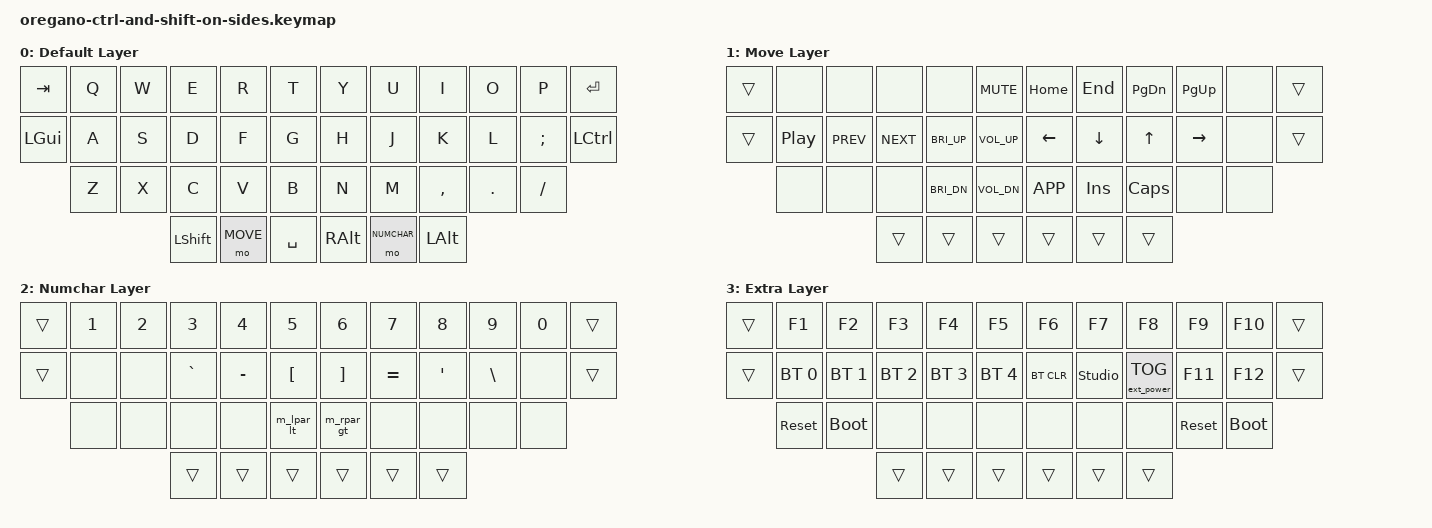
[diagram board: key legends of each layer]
#include <behaviors.dtsi>
#include <dt-bindings/zmk/keys.h>
#include <dt-bindings/zmk/bt.h>
#include <dt-bindings/zmk/ext_power.h>

#define DEFAULT 0
#define MOVE    1
#define NUMCHAR 2
#define EXTRA   3

/ {
        behaviors {
                m_lpar_lt: m_lpar_lt {
                        compatible = "zmk,behavior-mod-morph";
                        #binding-cells = <0>;
                        bindings = <&kp LPAR>, <&kp LT>;
                        mods = <(MOD_LSFT|MOD_RSFT)>;
                };
                m_rpar_gt: m_rpar_gt {
                        compatible = "zmk,behavior-mod-morph";
                        #binding-cells = <0>;
                        bindings = <&kp RPAR>, <&kp GT>;
                        mods = <(MOD_LSFT|MOD_RSFT)>;
                };
                m_bspc_del: m_bspc_del {
                        compatible = "zmk,behavior-mod-morph";
                        #binding-cells = <0>;
                        bindings = <&kp BSPC>, <&kp DEL>;
                        mods = <(MOD_LSFT|MOD_RSFT)>;
                };
        };

        combos {
                compatible = "zmk,combos";
                combo_esc {
                        timeout-ms = <40>;
                        key-positions = <2 3>;
                        bindings = <&kp ESC>;
                };
                combo_bspc {
                        timeout-ms = <40>;
                        key-positions = <8 9>;
                        bindings = <&m_bspc_del>;
                };
                combo_tab {
                        timeout-ms = <40>;
                        key-positions = <3 4>;
                        bindings = <&kp TAB>;
                };
                combo_ret {
                        timeout-ms = <40>;
                        key-positions = <7 8>;
                        bindings = <&kp RET>;
                };
        };

        conditional_layers {
                compatible = "zmk,conditional-layers";
                tri_layer {
                        if-layers = <MOVE NUMCHAR>;
                        then-layer = <EXTRA>;
                };
        };

        keymap {
                compatible = "zmk,keymap";

                default_layer {
                        display-name = "Default Layer";
// ╭─────────┬─────────┬─────────┬─────────┬─────────┬─────────╮   ╭─────────┬─────────┬─────────┬─────────┬─────────┬─────────╮
// │ LSHIFT  │    Q    │    W    │    E    │    R    │    T    │   │    Y    │    U    │    I    │    O    │    P    │  RSHIFT │
// ├─────────┼─────────┼─────────┼─────────┼─────────┼─────────┤   ├─────────┼─────────┼─────────┼─────────┼─────────┼─────────┤
// │  LCTRL  │    A    │    S    │    D    │    F    │    G    │   │    H    │    J    │    K    │    L    │   ; :   │  RCTRL  │
// ╰─────────┼─────────┼─────────┼─────────┼─────────┼─────────┤   ├─────────┼─────────┼─────────┼─────────┼─────────┼─────────╯
//           │    Z    │    X    │    C    │    V    │    B    │   │    N    │    M    │   , <   │   . >   │   / ?   │          
//           ╰─────────┴─────────┼─────────┼─────────┼─────────┤   ├─────────┼─────────┼─────────┼─────────┴─────────╯          
//                               │   GUI   │  MOVE   │  SPACE  │   │  RALT   │ NUMCHAR │  LALT   │                              
//                               ╰─────────┴─────────┴─────────╯   ╰─────────┴─────────┴─────────╯                              
                        bindings = <
   &kp TAB    &kp Q        &kp W            &kp E             &kp R                &kp T                &kp Y             &kp U             &kp I           &kp O           &kp P           &kp RET
   &kp LGUI   &kp A        &kp S            &kp D             &kp F                &kp G                &kp H             &kp J             &kp K           &kp L           &kp SEMI        &kp LCTRL
              &kp Z        &kp X            &kp C             &kp V                &kp B                &kp N             &kp M             &kp COMMA       &kp DOT         &kp FSLH        
                                            &kp LSHIFT        &mo MOVE             &kp SPACE            &kp RALT          &mo NUMCHAR       &kp LALT
                        >;
                };
                move_layer {
                        display-name = "Move Layer";
// ╭─────────┬─────────┬─────────┬─────────┬─────────┬─────────╮   ╭─────────┬─────────┬─────────┬─────────┬─────────┬─────────╮
// │  trans  │  none   │  none   │  none   │  none   │  MUTE   │   │  HOME   │   END   │  PG DN  │  PG UP  │  none   │  trans  │
// ├─────────┼─────────┼─────────┼─────────┼─────────┼─────────┤   ├─────────┼─────────┼─────────┼─────────┼─────────┼─────────┤
// │  trans  │  PLAY   │  PREV   │  NEXT   │  BRI U  │  VOL U  │   │  LEFT   │  DOWN   │   UP    │  RIGHT  │  none   │  trans  │
// ╰─────────┼─────────┼─────────┼─────────┼─────────┼─────────┤   ├─────────┼─────────┼─────────┼─────────┼─────────┼─────────╯
//           │  none   │  none   │  none   │  BRI D  │  VOL D  │   │   APP   │   INS   │  CAPS   │  none   │  none   │          
//           ╰─────────┴─────────┼─────────┼─────────┼─────────┤   ├─────────┼─────────┼─────────┼─────────┴─────────╯          
//                               │  trans  │  trans  │  trans  │   │  trans  │  trans  │  trans  │                              
//                               ╰─────────┴─────────┴─────────╯   ╰─────────┴─────────┴─────────╯                              
                        bindings = <
   &trans    &none        &none            &none             &none                &kp C_MUTE           &kp HOME          &kp END           &kp PG_DN       &kp PG_UP       &none           &trans
   &trans    &kp C_PP     &kp C_PREV       &kp C_NEXT        &kp C_BRI_UP         &kp C_VOL_UP         &kp LEFT          &kp DOWN          &kp UP          &kp RIGHT       &none           &trans
             &none        &none            &none             &kp C_BRI_DN         &kp C_VOL_DN         &kp K_APP         &kp INS           &kp CAPS        &none           &none          
                                           &trans            &trans               &trans               &trans            &trans            &trans
                        >;
                };

                numchar_layer {
                        display-name = "Numchar Layer";
// ╭─────────┬─────────┬─────────┬─────────┬─────────┬─────────╮   ╭─────────┬─────────┬─────────┬─────────┬─────────┬─────────╮
// │  trans  │   1 !   │   2 @   │   3 #   │   4 $   │   5 %   │   │   6 ^   │   7 &   │   8 *   │   9 (   │   0 )   │  trans  │
// ├─────────┼─────────┼─────────┼─────────┼─────────┼─────────┤   ├─────────┼─────────┼─────────┼─────────┼─────────┼─────────┤
// │  trans  │  none   │  none   │   ` ~   │   - _   │   [ {   │   │   ] }   │   = +   │   ' "   │   \ |   │  none   │  trans  │
// ╰─────────┼─────────┼─────────┼─────────┼─────────┼─────────┤   ├─────────┼─────────┼─────────┼─────────┼─────────┼─────────╯
//           │  none   │  none   │  none   │  none   │   ( <   │   │   ) >   │  none   │  none   │  none   │  none   │          
//           ╰─────────┴─────────┼─────────┼─────────┼─────────┤   ├─────────┼─────────┼─────────┼─────────┴─────────╯          
//                               │  trans  │  trans  │  trans  │   │  trans  │  trans  │  trans  │                              
//                               ╰─────────┴─────────┴─────────╯   ╰─────────┴─────────┴─────────╯                              
                        bindings = <
   &trans    &kp N1       &kp N2           &kp N3            &kp N4               &kp N5               &kp N6            &kp N7            &kp N8          &kp N9          &kp N0          &trans
   &trans    &none        &none            &kp GRAVE         &kp MINUS            &kp LBKT             &kp RBKT          &kp EQUAL         &kp SQT         &kp BSLH        &none           &trans
             &none        &none            &none             &none                &m_lpar_lt           &m_rpar_gt        &none             &none           &none           &none          
                                           &trans            &trans               &trans               &trans            &trans            &trans
                        >;
                };

                extra_layer {
                        display-name = "Extra Layer";
// ╭─────────┬─────────┬─────────┬─────────┬─────────┬─────────╮   ╭─────────┬─────────┬─────────┬─────────┬─────────┬─────────╮
// │  trans  │   F1    │   F2    │   F3    │   F4    │   F5    │   │   F6    │   F7    │   F8    │   F9    │   F10   │  trans  │
// ├─────────┼─────────┼─────────┼─────────┼─────────┼─────────┤   ├─────────┼─────────┼─────────┼─────────┼─────────┼─────────┤
// │  trans  │  BT 1   │  BT 2   │  BT 3   │  BT 4   │  BT 5   │   │ BT CLR  │ ZMK STU │  EP TG  │   F11   │   F12   │  trans  │
// ╰─────────┼─────────┼─────────┼─────────┼─────────┼─────────┤   ├─────────┼─────────┼─────────┼─────────┼─────────┼─────────╯
//           │  BOOT   │ SYS RES │  none   │  none   │  none   │   │  none   │  none   │  none   │ SYS RES │  BOOT   │          
//           ╰─────────┴─────────┼─────────┼─────────┼─────────┤   ├─────────┼─────────┼─────────┼─────────┴─────────╯          
//                               │  trans  │  trans  │  trans  │   │  trans  │  trans  │  trans  │                              
//                               ╰─────────┴─────────┴─────────╯   ╰─────────┴─────────┴─────────╯                              
                        bindings = <
   &trans    &kp F1        &kp F2           &kp F3            &kp F4               &kp F5               &kp F6            &kp F7            &kp F8            &kp F9          &kp F10         &trans
   &trans    &bt BT_SEL 0  &bt BT_SEL 1     &bt BT_SEL 2      &bt BT_SEL 3         &bt BT_SEL 4         &bt BT_CLR        &studio_unlock    &ext_power EP_TOG &kp F11         &kp F12         &trans
             &sys_reset    &bootloader      &none             &none                &none                &none             &none             &none             &sys_reset      &bootloader          
                                           &trans            &trans               &trans               &trans            &trans            &trans
                        >;
                };
        };
};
